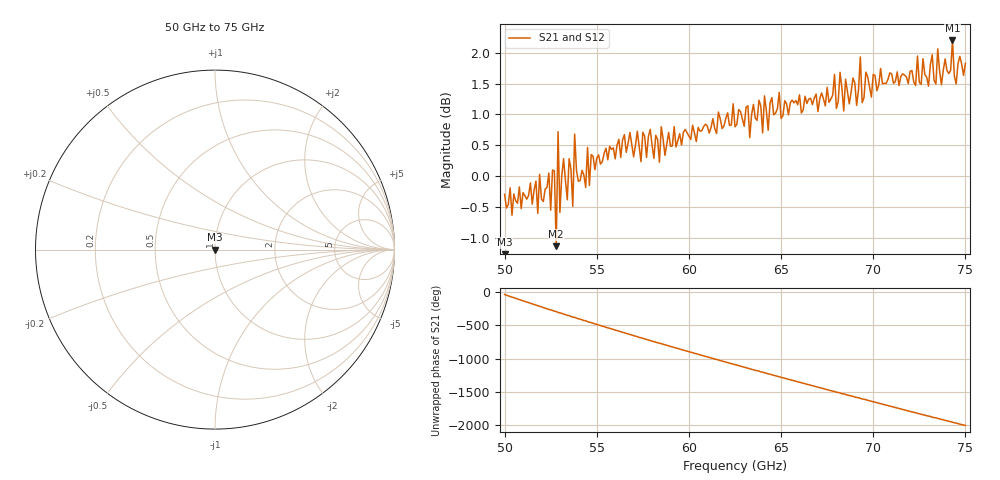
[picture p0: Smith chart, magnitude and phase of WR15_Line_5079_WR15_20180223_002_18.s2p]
# GHZ S RI R 50
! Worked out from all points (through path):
!   251 points, 50 GHz to 75 GHz, reference 50 ohm
!   highest |S21| = 2.20 dB at 74.3 GHz (marker M1); lowest = -1.1 dB at 52.8 GHz (marker M2)
!   lowest |S11| = - dB at 50 GHz (marker M3), VSWR 1.00, Z = 50 - j2.3e-15 ohm
!   |S11| at or under -10 dB: start of sweep to end of sweep
!   |S22| runs from - to - dB; largest |S21 - S12| = 1e-14
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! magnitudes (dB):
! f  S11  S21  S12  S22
! 50 GHz  -  -0.3  -0.3  -
! 51.8 GHz  -  -0.6  -0.6  -
! 52.4 GHz  -  0.0  0.0  -
! 52.5 GHz  -  -0.6  -0.6  -
! 52.7 GHz  -  0.1  0.1  -
! 52.8 GHz  -  -1.1  -1.1  -
! 52.9 GHz  -  0.7  0.7  -
! 53 GHz  -  -0.6  -0.6  -
! 53.2 GHz  -  0.3  0.3  -
! 53.7 GHz  -  -0.5  -0.5  -
! 53.8 GHz  -  0.7  0.7  -
! 54.2 GHz  -  0.1  0.1  -
! 58.4 GHz  -  0.2  0.2  -
! 58.5 GHz  -  0.8  0.8  -
! 62.5 GHz  -  0.8  0.8  -
! 66.7 GHz  -  1.2  1.2  -
! 70.9 GHz  -  1.7  1.7  -
! 73.5 GHz  -  2.1  2.1  -
! 73.7 GHz  -  1.5  1.5  -
! 74.3 GHz  -  2.2  2.2  -
! 74.5 GHz  -  1.5  1.5  -
! 75 GHz  -  1.8  1.8  -
